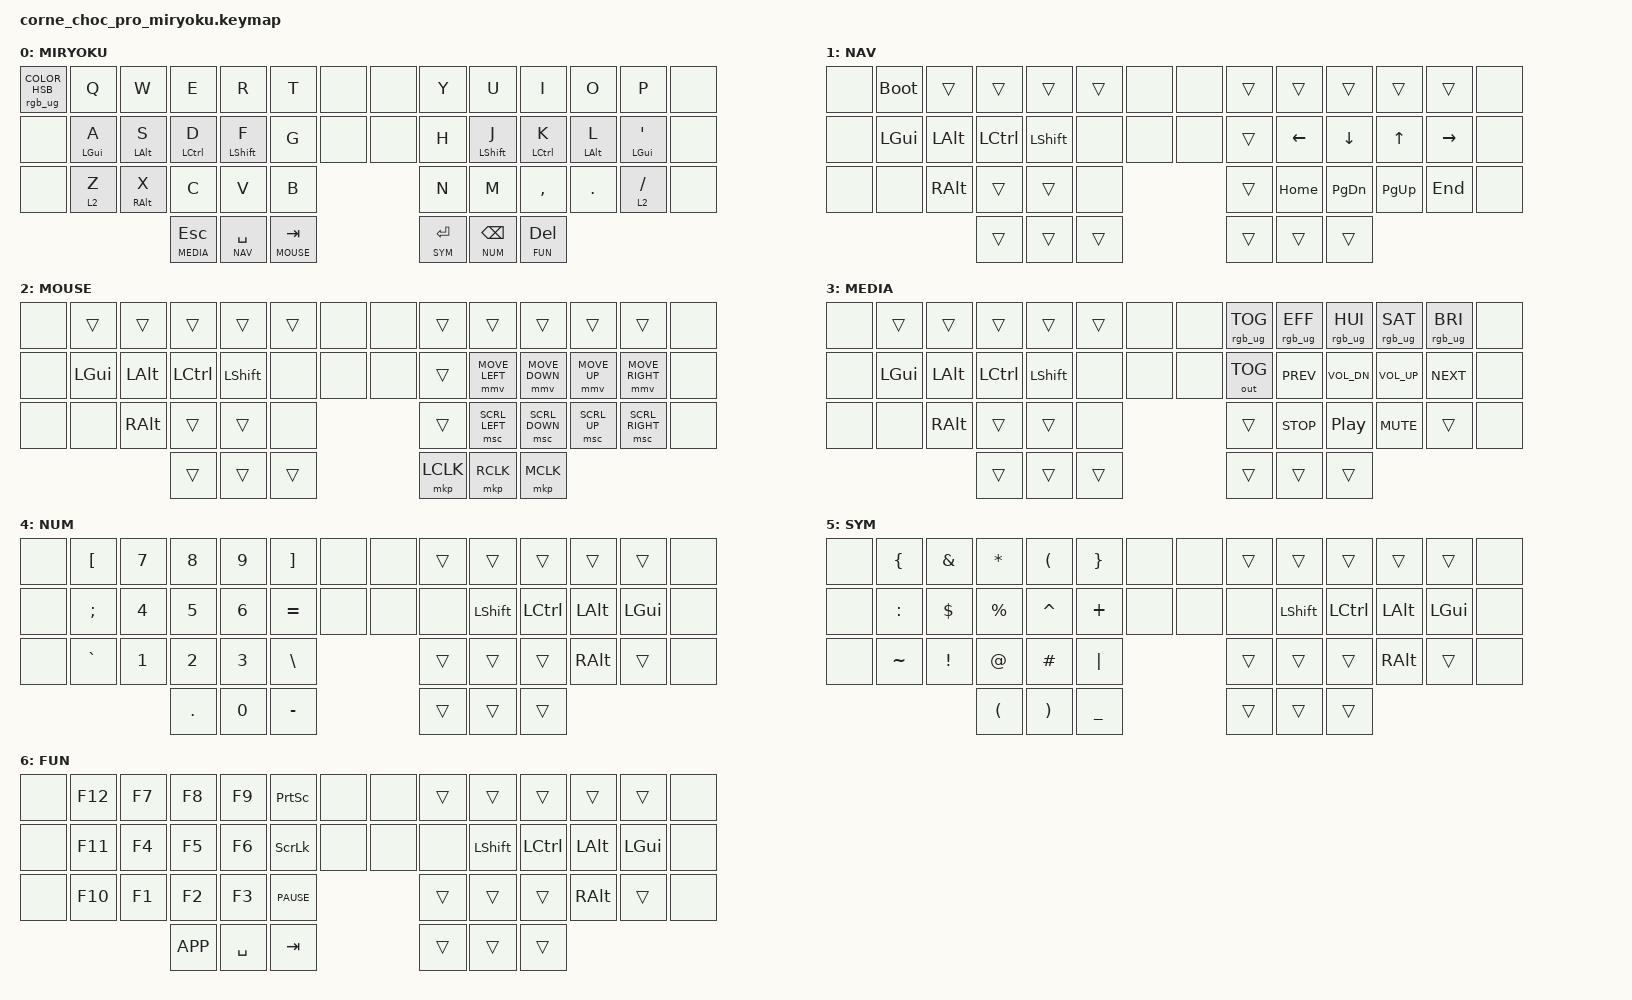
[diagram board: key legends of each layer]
#include <behaviors.dtsi>
#include <dt-bindings/zmk/keys.h>
#include <dt-bindings/zmk/outputs.h>
#include <dt-bindings/zmk/pointing.h>
#include <dt-bindings/zmk/rgb.h>

// Define behaviors for Miryoku

/ {
    behaviors {
        u_mt: u_mt {
            compatible = "zmk,behavior-hold-tap";
            label = "u_mt";
            #binding-cells = <2>;
            tapping-term-ms = <200>;
            flavor = "tap-preferred";
            bindings = <&kp>, <&kp>;
        };

        u_lt: u_lt {
            compatible = "zmk,behavior-hold-tap";
            label = "u_lt";
            #binding-cells = <2>;
            tapping-term-ms = <200>;
            flavor = "tap-preferred";
            bindings = <&mo>, <&kp>;
        };
    };
};

// Define Layers

#define BASE 0
#define NAV 1
#define MOUSE 2
#define MEDIA 3
#define NUM 4
#define SYM 5
#define FUN 6

/ {
    keymap {
        compatible = "zmk,keymap";

        default_layer {
            display-name = "MIRYOKU";
            bindings = <
&rgb_ug RGB_COLOR_HSB(0,100,51)  &kp Q         &kp W         &kp E            &kp R            &kp T            &none  &none  &kp Y          &kp U           &kp I          &kp O         &kp P           &none
&none                            &u_mt LGUI A  &u_mt LALT S  &u_mt LCTRL D    &u_mt LSHFT F    &kp G            &none  &none  &kp H          &u_mt LSHFT J   &u_mt LCTRL K  &u_mt LALT L  &u_mt LGUI SQT  &none
&none                            &u_lt 2 Z     &u_mt RALT X  &kp C            &kp V            &kp B                          &kp N          &kp M           &kp COMMA      &kp DOT       &u_lt 2 FSLH    &none
                                                             &u_lt MEDIA ESC  &u_lt NAV SPACE  &u_lt MOUSE TAB                &u_lt SYM RET  &u_lt NUM BSPC  &u_lt FUN DEL
            >;
        };

        nav_layer {
            display-name = "NAV";
            bindings = <
&none  &bootloader  &trans    &trans     &trans     &trans  &none  &none  &trans  &trans    &trans     &trans     &trans     &none
&none  &kp LGUI     &kp LALT  &kp LCTRL  &kp LSHFT  &none   &none  &none  &trans  &kp LEFT  &kp DOWN   &kp UP     &kp RIGHT  &none
&none  &none        &kp RALT  &trans     &trans     &none                 &trans  &kp HOME  &kp PG_DN  &kp PG_UP  &kp END    &none
                              &trans     &trans     &trans                &trans  &trans    &trans
            >;
        };

        mouse_layer {
            display-name = "MOUSE";
            bindings = <
&none  &trans    &trans    &trans     &trans     &trans  &none  &none  &trans     &trans          &trans          &trans        &trans           &none
&none  &kp LGUI  &kp LALT  &kp LCTRL  &kp LSHFT  &none   &none  &none  &trans     &mmv MOVE_LEFT  &mmv MOVE_DOWN  &mmv MOVE_UP  &mmv MOVE_RIGHT  &none
&none  &none     &kp RALT  &trans     &trans     &none                 &trans     &msc SCRL_LEFT  &msc SCRL_DOWN  &msc SCRL_UP  &msc SCRL_RIGHT  &none
                           &trans     &trans     &trans                &mkp LCLK  &mkp RCLK       &mkp MCLK
            >;
        };

        media_layer {
            display-name = "MEDIA";
            bindings = <
&none  &trans    &trans    &trans     &trans     &trans  &none  &none  &rgb_ug RGB_TOG  &rgb_ug RGB_EFF  &rgb_ug RGB_HUI  &rgb_ug RGB_SAT  &rgb_ug RGB_BRI  &none
&none  &kp LGUI  &kp LALT  &kp LCTRL  &kp LSHFT  &none   &none  &none  &out OUT_TOG     &kp C_PREV       &kp C_VOL_DN     &kp C_VOL_UP     &kp C_NEXT       &none
&none  &none     &kp RALT  &trans     &trans     &none                 &trans           &kp C_STOP       &kp C_PP         &kp C_MUTE       &trans           &none
                           &trans     &trans     &trans                &trans           &trans           &trans
            >;
        };

        num_layer {
            display-name = "NUM";
            bindings = <
&none  &kp LBKT   &kp N7  &kp N8   &kp N9  &kp RBKT   &none  &none  &trans  &trans     &trans     &trans    &trans    &none
&none  &kp SEMI   &kp N4  &kp N5   &kp N6  &kp EQUAL  &none  &none  &none   &kp LSHFT  &kp LCTRL  &kp LALT  &kp LGUI  &none
&none  &kp GRAVE  &kp N1  &kp N2   &kp N3  &kp BSLH                 &trans  &trans     &trans     &kp RALT  &trans    &none
                          &kp DOT  &kp N0  &kp MINUS                &trans  &trans     &trans
            >;
        };

        sym_layer {
            display-name = "SYM";
            bindings = <
&none  &kp LBRC   &kp AMPS  &kp ASTRK  &kp LPAR   &kp RBRC   &none  &none  &trans  &trans     &trans     &trans    &trans    &none
&none  &kp COLON  &kp DLLR  &kp PRCNT  &kp CARET  &kp PLUS   &none  &none  &none   &kp LSHFT  &kp LCTRL  &kp LALT  &kp LGUI  &none
&none  &kp TILDE  &kp EXCL  &kp AT     &kp HASH   &kp PIPE                 &trans  &trans     &trans     &kp RALT  &trans    &none
                            &kp LPAR   &kp RPAR   &kp UNDER                &trans  &trans     &trans
            >;
        };

        fun_layer {
            display-name = "FUN";
            bindings = <
&none  &kp F12  &kp F7  &kp F8     &kp F9     &kp PSCRN  &none  &none  &trans  &trans     &trans     &trans    &trans    &none
&none  &kp F11  &kp F4  &kp F5     &kp F6     &kp SLCK   &none  &none  &none   &kp LSHFT  &kp LCTRL  &kp LALT  &kp LGUI  &none
&none  &kp F10  &kp F1  &kp F2     &kp F3     &kp PAUSE                &trans  &trans     &trans     &kp RALT  &trans    &none
                        &kp K_APP  &kp SPACE  &kp TAB                  &trans  &trans     &trans
            >;
        };
    };
};
